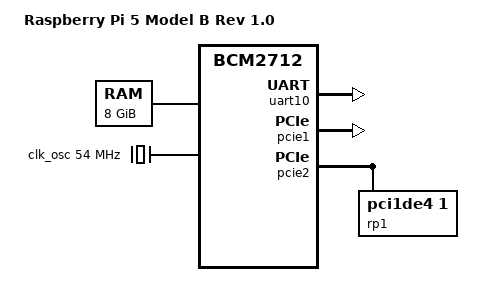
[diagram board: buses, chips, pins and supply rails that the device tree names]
// A Raspberry Pi 5 Model B device tree, trimmed to what the kernel reads at
// boot, WRITTEN FROM RECOLLECTION of Linux's
// arch/arm64/boot/dts/broadcom/bcm2712.dtsi and bcm2712-rpi-5-b.dts (no copy
// of either was at hand). /memory is what the firmware patches in for an
// 8 GiB board. Every address and property here is to be confirmed against
// the DTB the firmware hands the kernel on the board; the host tests built
// on it prove the parser's arithmetic, not the board's map.
//
// Compile: dtc -I dts -O dtb -o rpi5-bcm2712.dtb rpi5-bcm2712.dts
/dts-v1/;

/ {
	compatible = "raspberrypi,5-model-b", "brcm,bcm2712";
	model = "Raspberry Pi 5 Model B Rev 1.0";
	#address-cells = <2>;
	#size-cells = <2>;
	interrupt-parent = <&gicv2>;

	aliases {
		serial10 = "/soc@107c000000/serial@7d001000";
	};

	chosen {
		stdout-path = "serial10:115200n8";
	};

	memory@0 {
		device_type = "memory";
		reg = <0x0 0x0 0x0 0x3fc00000>,
		      <0x0 0x40000000 0x1 0xc0000000>;
	};

	reserved-memory {
		#address-cells = <2>;
		#size-cells = <2>;
		ranges;

		atf@0 {
			reg = <0x0 0x0 0x0 0x80000>;
			no-map;
		};
	};

	clocks {
		clk_osc: clk-osc {
			compatible = "fixed-clock";
			#clock-cells = <0>;
			clock-output-names = "osc";
			clock-frequency = <54000000>;
		};
		clk_vpu: clk-vpu {
			compatible = "fixed-clock";
			#clock-cells = <0>;
			clock-frequency = <750000000>;
			clock-output-names = "vpu-clock";
		};
		clk_uart: clk-uart {
			compatible = "fixed-clock";
			#clock-cells = <0>;
			clock-frequency = <9216000>;
			clock-output-names = "uart-clock";
		};
	};

	cpus {
		#address-cells = <1>;
		#size-cells = <0>;

		cpu0: cpu@0 {
			device_type = "cpu";
			compatible = "arm,cortex-a76";
			reg = <0x000>;
			enable-method = "psci";
		};
		cpu1: cpu@1 {
			device_type = "cpu";
			compatible = "arm,cortex-a76";
			reg = <0x100>;
			enable-method = "psci";
		};
		cpu2: cpu@2 {
			device_type = "cpu";
			compatible = "arm,cortex-a76";
			reg = <0x200>;
			enable-method = "psci";
		};
		cpu3: cpu@3 {
			device_type = "cpu";
			compatible = "arm,cortex-a76";
			reg = <0x300>;
			enable-method = "psci";
		};
	};

	psci {
		compatible = "arm,psci-1.0", "arm,psci-0.2";
		method = "smc";
	};

	timer {
		compatible = "arm,armv8-timer";
		interrupts = <1 13 0xf08>, <1 14 0xf08>, <1 11 0xf08>, <1 10 0xf08>, <1 12 0xf08>;
	};

	firmware {
		compatible = "raspberrypi,bcm2835-firmware", "simple-mfd";
		mboxes = <&mailbox>;
	};

	soc: soc@107c000000 {
		compatible = "simple-bus";
		#address-cells = <1>;
		#size-cells = <1>;
		ranges = <0x7c000000 0x10 0x7c000000 0x04000000>;
		/* Emulate a contiguous 30-bit address range for DMA */
		dma-ranges = <0xc0000000 0x00 0x00000000 0x40000000>,
			     <0x7c000000 0x10 0x7c000000 0x04000000>;

		mailbox: mailbox@7c013880 {
			compatible = "brcm,bcm2835-mbox";
			reg = <0x7c013880 0x40>;
			interrupts = <0 33 4>;
			#mbox-cells = <0>;
		};

		uart10: serial@7d001000 {
			compatible = "arm,pl011", "arm,primecell";
			reg = <0x7d001000 0x200>;
			interrupts = <0 121 4>;
			clocks = <&clk_uart>, <&clk_vpu>;
			clock-names = "uartclk", "apb_pclk";
			arm,primecell-periphid = <0x00241011>;
		};

		pm: watchdog@7d200000 {
			compatible = "brcm,bcm2712-pm";
			reg = <0x7d200000 0x604>;
			reg-names = "pm";
			#power-domain-cells = <1>;
			#reset-cells = <1>;
			clocks = <&clk_vpu>;
			system-power-controller;
		};

		gicv2: interrupt-controller@7fff9000 {
			compatible = "arm,gic-400";
			reg = <0x7fff9000 0x1000>,
			      <0x7fffa000 0x2000>,
			      <0x7fffc000 0x2000>,
			      <0x7fffe000 0x2000>;
			interrupt-controller;
			#interrupt-cells = <3>;
			interrupts = <1 9 0xf04>;
		};
	};

	axi: axi {
		compatible = "simple-bus";
		#address-cells = <2>;
		#size-cells = <2>;
		ranges;
		dma-ranges;

		pcie0: pcie@1000100000 {
			compatible = "brcm,bcm2712-pcie";
			reg = <0x10 0x00100000 0x0 0x9310>;
			device_type = "pci";
			#address-cells = <3>;
			#size-cells = <2>;
			linux,pci-domain = <0>;
			ranges = <0x02000000 0x00 0x00000000 0x17 0x00000000 0x0 0xfffffffc>;
			status = "disabled";
		};

		pcie1: pcie@1000110000 {
			compatible = "brcm,bcm2712-pcie";
			reg = <0x10 0x00110000 0x0 0x9310>;
			device_type = "pci";
			#address-cells = <3>;
			#size-cells = <2>;
			linux,pci-domain = <1>;
			ranges = <0x02000000 0x00 0x00000000 0x1b 0x00000000 0x0 0xfffffffc>,
				 <0x43000000 0x04 0x00000000 0x18 0x00000000 0x3 0x00000000>;
			dma-ranges = <0x02000000 0x10 0x00000000 0x00 0x00000000 0x10 0x00000000>;
		};

		pcie2: pcie@1000120000 {
			compatible = "brcm,bcm2712-pcie";
			reg = <0x10 0x00120000 0x0 0x9310>;
			device_type = "pci";
			#address-cells = <3>;
			#size-cells = <2>;
			linux,pci-domain = <2>;
			ranges = <0x02000000 0x00 0x00000000 0x1f 0x00000000 0x0 0xfffffffc>,
				 <0x43000000 0x04 0x00000000 0x1c 0x00000000 0x3 0x00000000>;
			dma-ranges = <0x02000000 0x10 0x00000000 0x00 0x00000000 0x10 0x00000000>;

			pci@0,0 {
				device_type = "pci";
				reg = <0x0 0x0 0x0 0x0 0x0>;
				#address-cells = <3>;
				#size-cells = <2>;
				ranges;

				rp1: pci-ep-bus@0 {
					compatible = "pci1de4,1";
					reg = <0x10000 0x0 0x0 0x0 0x0>;
				};
			};
		};
	};
};
